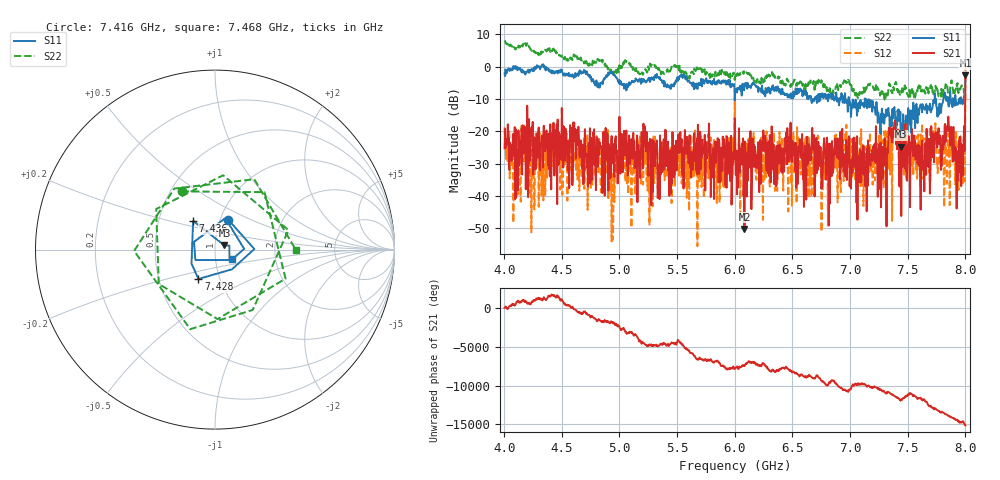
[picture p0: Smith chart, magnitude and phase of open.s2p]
# Hz S RI R 50
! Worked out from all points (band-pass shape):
!   1000 points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, 4.004 GHz to 8 GHz, reference 50 ohm
!   highest |S21| = -2.71 dB at 8 GHz (marker M1); lowest = -50.2 dB at 6.084 GHz (marker M2)
!   |S21| within 3 dB of the highest: 7.999341 GHz to end of sweep
!   lowest |S11| = -24.8 dB at 7.44 GHz (marker M3), VSWR 1.12, Z = 55.5 + j2.61 ohm
!   |S11| at or under -10 dB: 6.99 GHz to 7.128 GHz (137.8 MHz wide, 1.95 % of centre); 7.128 GHz to 7.734 GHz (605.2 MHz wide, 8.14 % of centre); 7.738 GHz to 7.809 GHz (70.67 MHz wide, 0.909 % of centre) (the widest 3 of 27)
!   |S22| runs from -10.4 to 8.1 dB; largest |S21 - S12| = 0.54
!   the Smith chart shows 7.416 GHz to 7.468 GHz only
!   S11 on the Smith chart (normalised r, x): 7.416 GHz: 1.10, +0.37; 7.428 GHz: 0.79, -0.27; 7.436 GHz: 0.75, +0.25; 7.468 GHz: 1.21, -0.13
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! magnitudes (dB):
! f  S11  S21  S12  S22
! 4.004 GHz  -2.1  -25.3  -18.8  8.1
! 4.244 GHz  -1.2  -20.0  -31.0  5.4
! 4.672 GHz  -2.0  -25.4  -31.8  1.9
! 4.88 GHz  -3.3  -18.9  -30.7  0.0
! 4.936 GHz  -2.1  -25.1  -32.6  -1.0
! 4.984 GHz  -3.9  -36.1  -29.6  -1.4
! 5.336 GHz  -3.2  -30.4  -29.9  -0.6
! 6.004 GHz  -7.4  -24.6  -26.5  -2.8
! 6.084 GHz  -6.2  -50.2  -25.8  -1.7
! 6.668 GHz  -11.2  -21.7  -40.3  -4.7
! 7.076 GHz  -12.3  -27.6  -34.3  -8.2
! 7.336 GHz  -14.5  -18.9  -21.4  -7.0
! 7.416 GHz  -14.8  -19.4  -21.9  -8.6
! 7.428 GHz  -14.5  -37.1  -22.3  -8.2
! 7.436 GHz  -13.9  -25.1  -25.6  -8.0
! 7.44 GHz  -24.8  -22.7  -27.1  -7.6
! 7.468 GHz  -19.1  -26.9  -33.9  -6.9
! 7.628 GHz  -11.6  -31.8  -23.5  -7.2
! 7.84 GHz  -10.4  -18.5  -36.2  -5.3
! 7.944 GHz  -10.0  -22.8  -24.4  -6.8
! 7.976 GHz  -11.6  -33.7  -26.4  -6.1
! 8 GHz  -4.2  -2.7  -0.5  -9.3
